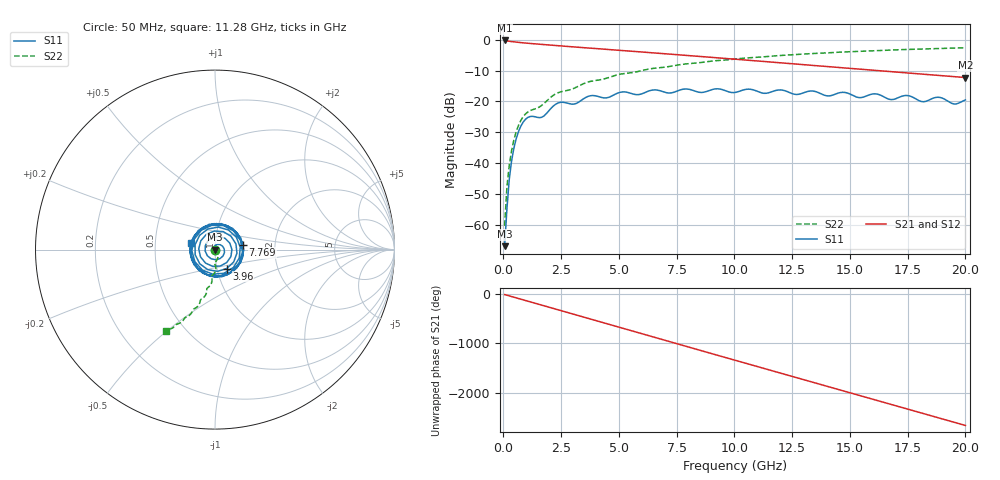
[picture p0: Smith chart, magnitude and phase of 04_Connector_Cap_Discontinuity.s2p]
! Touchstone 1.1 File - 60mm Channel with 0.35pF Capacitive Discontinuity at Port 2
! Ports: 2 | Reference Impedance: 50 Ohms
# GHz S RI R 50
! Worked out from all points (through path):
!   200 points, 50 MHz to 20 GHz, reference 50 ohm
!   highest |S21| = -0.19 dB at 50 MHz (marker M1); lowest = -12.2 dB at 20 GHz (marker M2)
!   group delay of S21, straight-line fit = 370 ps
!   lowest |S11| = -67.0 dB at 50 MHz (marker M3), VSWR 1.00, Z = 50 - j0.0433 ohm
!   |S11| at or under -10 dB: start of sweep to end of sweep
!   |S22| runs from -60.4 to -2.6 dB; largest |S21 - S12| = 0
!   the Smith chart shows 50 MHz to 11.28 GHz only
!   S11 on the Smith chart (normalised r, x): 50 MHz: 1.00, -0.00; 3.96 GHz: 1.11, -0.24; 7.769 GHz: 1.37, +0.07; 11.28 GHz: 0.77, +0.05
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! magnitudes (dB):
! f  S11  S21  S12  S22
! 50 MHz  -67.0  -0.2  -0.2  -60.4
! 150.2 MHz  -54.9  -0.3  -0.3  -47.8
! 250.5 MHz  -45.3  -0.5  -0.5  -40.8
! 350.8 MHz  -39.3  -0.6  -0.6  -36.0
! 551.3 MHz  -32.1  -0.7  -0.7  -29.8
! 751.8 MHz  -28.0  -0.9  -0.9  -26.1
! 1.053 GHz  -25.2  -1.1  -1.1  -23.4
! 1.654 GHz  -25.1  -1.5  -1.5  -21.3
! 2.356 GHz  -20.5  -1.9  -1.9  -17.2
! 3.459 GHz  -19.2  -2.5  -2.5  -14.2
! 3.96 GHz  -18.1  -2.8  -2.8  -13.2
! 6.767 GHz  -16.5  -4.4  -4.4  -9.0
! 7.769 GHz  -16.0  -5.0  -5.0  -7.9
! 10.08 GHz  -17.0  -6.3  -6.3  -6.2
! 11.28 GHz  -17.3  -7.0  -7.0  -5.5
! 13.38 GHz  -16.6  -8.3  -8.3  -4.4
! 16.69 GHz  -19.3  -10.2  -10.2  -3.3
! 17.49 GHz  -18.1  -10.7  -10.7  -3.1
! 18.2 GHz  -20.1  -11.1  -11.1  -2.9
! 18.8 GHz  -18.6  -11.5  -11.5  -2.8
! 19.5 GHz  -20.8  -11.9  -11.9  -2.7
! 20 GHz  -19.5  -12.2  -12.2  -2.6
